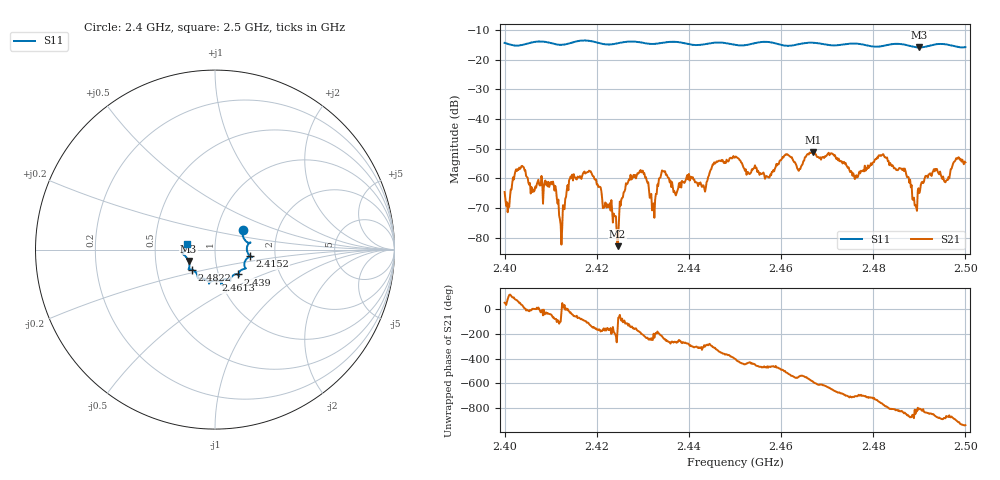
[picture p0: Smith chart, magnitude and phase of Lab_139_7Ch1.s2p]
# Hz S RI R 50
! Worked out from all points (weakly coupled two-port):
!   601 points, 2.4 GHz to 2.5 GHz, reference 50 ohm
!   highest |S21| = -51.12 dB at 2.467 GHz (marker M1); lowest = -82.8 dB at 2.4245 GHz (marker M2)
!   lowest |S11| = -15.9 dB at 2.49 GHz (marker M3), VSWR 1.38, Z = 36.9 - j4.83 ohm
!   |S11| at or under -10 dB: start of sweep to end of sweep
!   S12 and S22 are empty: the file has one direction only
!   S11 on the Smith chart (normalised r, x): 2.4 GHz: 1.33, +0.31; 2.4152 GHz: 1.48, -0.11; 2.439 GHz: 1.24, -0.36; 2.4613 GHz: 0.96, -0.34; 2.4822 GHz: 0.76, -0.17; 2.5 GHz: 0.73, +0.05
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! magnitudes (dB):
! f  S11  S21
! 2.4 GHz  -14.4  -64.5
! 2.404 GHz  -15.0  -56.1
! 2.4105 GHz  -14.6  -61.1
! 2.4123 GHz  -15.0  -82.3
! 2.4152 GHz  -14.0  -59.5
! 2.4167 GHz  -13.6  -60.2
! 2.4245 GHz  -14.5  -82.8
! 2.4275 GHz  -13.9  -60.3
! 2.43 GHz  -14.3  -57.4
! 2.4322 GHz  -14.7  -70.1
! 2.4333 GHz  -14.6  -62.5
! 2.439 GHz  -14.5  -61.5
! 2.45 GHz  -15.0  -53.0
! 2.457 GHz  -14.1  -59.4
! 2.4613 GHz  -15.4  -51.8
! 2.4667 GHz  -14.3  -51.1
! 2.467 GHz  -14.3  -51.1
! 2.4763 GHz  -14.6  -58.9
! 2.4822 GHz  -15.4  -51.8
! 2.4833 GHz  -15.0  -54.1
! 2.49 GHz  -15.9  -64.9
! 2.5 GHz  -15.8  -54.6
